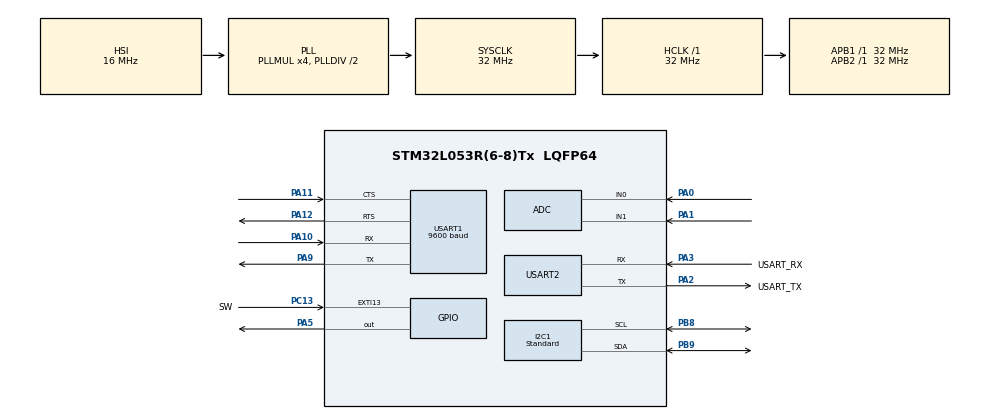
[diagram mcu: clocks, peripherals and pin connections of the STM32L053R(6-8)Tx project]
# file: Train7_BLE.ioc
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ADC.ClockPrescaler=ADC_CLOCK_SYNC_PCLK_DIV4
ADC.ContinuousConvMode=ENABLE
ADC.DMAContinuousRequests=ENABLE
ADC.Overrun=ADC_OVR_DATA_OVERWRITTEN
ADC.SamplingTime=ADC_SAMPLETIME_160CYCLES_5
Dma.ADC.0.Direction=DMA_PERIPH_TO_MEMORY
Dma.ADC.0.Instance=DMA1_Channel1
Dma.ADC.0.MemDataAlignment=DMA_MDATAALIGN_HALFWORD
Dma.ADC.0.MemInc=DMA_MINC_ENABLE
Dma.ADC.0.Mode=DMA_CIRCULAR
Dma.ADC.0.PeriphDataAlignment=DMA_PDATAALIGN_HALFWORD
Dma.ADC.0.PeriphInc=DMA_PINC_DISABLE
Dma.ADC.0.Priority=DMA_PRIORITY_LOW
Dma.Request0=ADC
I2C1.Analog_Filter=I2C_ANALOGFILTER_DISABLE
I2C1.I2C_Fall_Time=300
I2C1.I2C_Rise_Time=300
I2C1.I2C_Speed_Mode=I2C_Standard
I2C1.Timing=0x20522938
Mcu.Family=STM32L0
Mcu.Name=STM32L053R(6-8)Tx
Mcu.Package=LQFP64
NVIC.DMA1_Channel1_IRQn=true\:1\:0\:true\:false\:true\:false\:true
NVIC.EXTI4_15_IRQn=true\:0\:0\:false\:false\:true\:true\:true
NVIC.TIM21_IRQn=true\:0\:0\:false\:false\:true\:true\:true
NVIC.USART1_IRQn=true\:1\:0\:true\:false\:true\:true\:true
NVIC.USART2_IRQn=true\:1\:0\:true\:false\:true\:true\:true
PA0.Mode=IN0
PA0.Signal=ADC_IN0
PA1.Mode=IN1
PA1.Signal=ADC_IN1
PA10.Mode=Asynchronous
PA10.Signal=USART1_RX
PA11.Mode=CTS_RTS
PA11.Signal=USART1_CTS
PA12.Mode=CTS_RTS
PA12.Signal=USART1_RTS
PA13.GPIO_Label=TMS
PA13.Mode=Serial_Wire
PA13.Signal=SYS_SWDIO
PA14.GPIO_Label=TCK
PA14.Mode=Serial_Wire
PA14.Signal=SYS_SWCLK
PA2.GPIO_Label=USART_TX
PA2.Mode=Asynchronous
PA2.Signal=USART2_TX
PA3.GPIO_Label=USART_RX
PA3.Mode=Asynchronous
PA3.Signal=USART2_RX
PA5.Signal=GPIO_Output
PA9.Mode=Asynchronous
PA9.Signal=USART1_TX
PB8.GPIO_FM8=__NULL
PB8.Mode=I2C
PB8.Signal=I2C1_SCL
PB9.GPIO_FM9=__NULL
PB9.Mode=I2C
PB9.Signal=I2C1_SDA
PC13.GPIO_Label=SW
PC13.GPIO_ModeDefaultEXTI=GPIO_MODE_IT_FALLING
PC13.Signal=GPXTI13
PC14-OSC32_IN.Mode=LSE-External-Oscillator
PC14-OSC32_IN.Signal=RCC_OSC32_IN
PC15-OSC32_OUT.Mode=LSE-External-Oscillator
PC15-OSC32_OUT.Signal=RCC_OSC32_OUT
PH0-OSC_IN.Mode=HSE-External-Clock-Source
PH0-OSC_IN.Signal=RCC_OSC_IN
PH1-OSC_OUT.Signal=RCC_OSC_OUT
ProjectManager.HeapSize=0x200
ProjectManager.StackSize=0x400
ProjectManager.TargetToolchain=STM32CubeIDE
RCC.ADCFreq_Value=16000000
RCC.AHBFreq_Value=32000000
RCC.APB1Freq_Value=32000000
RCC.APB1TimFreq_Value=32000000
RCC.APB2Freq_Value=32000000
RCC.APB2TimFreq_Value=32000000
RCC.HCLKFreq_Value=32000000
RCC.HSE_VALUE=8000000
RCC.HSI16_VALUE=16000000
RCC.HSI48_VALUE=48000000
RCC.HSI_VALUE=16000000
RCC.MSIClockRange=RCC_MSIRANGE_6
RCC.MSI_VALUE=4194000
RCC.PLLMUL=RCC_PLLMUL_4
RCC.SYSCLKFreq_VALUE=32000000
RCC.SYSCLKSource=RCC_SYSCLKSOURCE_PLLCLK
RCC.VCOOutputFreq_Value=64000000
TIM21.AutoReloadPreload=TIM_AUTORELOAD_PRELOAD_ENABLE
TIM21.Period=500-1
TIM21.Prescaler=32000-1
USART1.BaudRate=9600
USART1.VirtualMode-Asynchronous=VM_ASYNC
USART2.Parity=PARITY_NONE
USART2.VirtualMode-Asynchronous=VM_ASYNC
VP_ADC_TempSens_Input.Mode=IN-TempSens
VP_ADC_Vref_Input.Mode=IN-Vrefint
VP_TIM21_VS_ClockSourceINT.Mode=Internal
board=NUCLEO-L053R8

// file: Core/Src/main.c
/* USER CODE BEGIN Header */
/*
 * Train5 All
 * 目的：全てのセンサを利用し、I2C,ADC,DMAの使い方を理解する
 * 確認方法：
 * 		温度センサ：I2CとADCを使用して、値を取得し温度の値として出力する。、ADCで取得した値は計算する。
 * 		LCD：温度センサと同じI2Cのバスに接続する。温度センサの値を表示する。
 * 		距離センサ：ADCを用いて値を取得し、計算して距離として出力する
 * 		　※ADCで取得した値はDMAを使用して取得する
 * 流れ：起動すると、LCDが起動する。
 * 				スイッチを押すと0.5秒タイマとADCが起動し、温度センサから取得した温度をLCDに表示する。
 * 				もう一度スイッチを押すと、画面が切り替わり、距離センサから取得した距離をcm単位でLCDに表示する。
 * 				もう一度スイッチを押すと、タイマーとADCがストップする。
 */
/*
 *
 ******************************************************************************
 * @file : main.c
 * @brief : Main program body
 ******************************************************************************
 * @attention
 *
 * <h2><center>&copy; Copyright (c) 2020 STMicroelectronics.
 * All rights reserved.</center></h2>
 *
 * This software component is licensed by ST under BSD 3-Clause license,
 * the "License"; You may not use this file except in compliance with the
 * License. You may obtain a copy of the License at:
 * opensource.org/licenses/BSD-3-Clause
 *
 ******************************************************************************
 */
/* USER CODE END Header */
#include "main.h"

/* USER CODE BEGIN Includes */
#include <stdbool.h>
#include <string.h>

#include "LCD.h"
#include "Input.h"
#include "LINBLE.h"
#include "State.h"
#include "UART.h"

/* USER CODE END Includes */

ADC_HandleTypeDef hadc;
DMA_HandleTypeDef hdma_adc;

I2C_HandleTypeDef hi2c1;

TIM_HandleTypeDef htim21;

UART_HandleTypeDef huart1;
UART_HandleTypeDef huart2;

/* USER CODE BEGIN PV */

/* ------------------------------------------- */

/* USER CODE END PV */

void SystemClock_Config(void);
static void MX_GPIO_Init(void);
static void MX_DMA_Init(void);
static void MX_USART2_UART_Init(void);
static void MX_TIM21_Init(void);
static void MX_I2C1_Init(void);
static void MX_ADC_Init(void);
static void MX_USART1_UART_Init(void);

int main(void)
{

  /* MCU Configuration--------------------------------------------------------*/

  /* Reset of all peripherals, Initializes the Flash interface and the Systick. */
  HAL_Init();

  /* Configure the system clock */
  SystemClock_Config();

  /* Initialize all configured peripherals */
  MX_GPIO_Init();
  MX_DMA_Init();
  MX_USART2_UART_Init();
  MX_TIM21_Init();
  MX_I2C1_Init();
  MX_ADC_Init();
  MX_USART1_UART_Init();
  /* USER CODE BEGIN 2 */

    UART_Console_Init(&huart2);  // UART  init

    LINBLE_Init(&huart1);  // LINBLEの初期化

    LCD_Init(&hi2c1);  // LCDの初期化

    State_Init(SYS_STATE_BLE_CENTRAL);  // システム状態の初期化

    HAL_TIM_Base_Start_IT(&htim21);  // タイマ スタート0.5秒タイマ

#ifdef MYDEBUG  // デバッグ用 "Start My Program" 表示
    PrintUART((uint8_t *)"Start My Program\r\n\r\n");
#endif

  /* USER CODE END 2 */

  /* Infinite loop */
  /* USER CODE BEGIN WHILE */
    // -------------------------- メインループ ---------------------------------------------------------
    while (1) {
    /* USER CODE END WHILE */

    /* USER CODE BEGIN 3 */

        /* ----------------- スイッチでLCDの表示画面を切り替える処理 -----------------  */
        Input_UpdateState();
        // スイッチを押した時だけ
        if (Input_IsSWrise() == true) {
            State_ChangeStateRoll();
        }

        /* ---------------------------------------------------------  */

        // 状態に応じた処理の実行
        State_RunProcess();

        // リアルタイムで実行される処理
        State_RunRealtimeProcess();

        // LCD更新
        LCD_BufferToLCD();
        /* ---------------------------------------------------------  */
    }

  /* USER CODE END 3 */
}

void SystemClock_Config(void)
{
  RCC_OscInitTypeDef RCC_OscInitStruct = {0};
  RCC_ClkInitTypeDef RCC_ClkInitStruct = {0};
  RCC_PeriphCLKInitTypeDef PeriphClkInit = {0};

  /** Configure the main internal regulator output voltage
  */
  __HAL_PWR_VOLTAGESCALING_CONFIG(PWR_REGULATOR_VOLTAGE_SCALE1);
  /** Initializes the RCC Oscillators according to the specified parameters
  * in the RCC_OscInitTypeDef structure.
  */
  RCC_OscInitStruct.OscillatorType = RCC_OSCILLATORTYPE_HSI;
  RCC_OscInitStruct.HSIState = RCC_HSI_ON;
  RCC_OscInitStruct.HSICalibrationValue = RCC_HSICALIBRATION_DEFAULT;
  RCC_OscInitStruct.PLL.PLLState = RCC_PLL_ON;
  RCC_OscInitStruct.PLL.PLLSource = RCC_PLLSOURCE_HSI;
  RCC_OscInitStruct.PLL.PLLMUL = RCC_PLLMUL_4;
  RCC_OscInitStruct.PLL.PLLDIV = RCC_PLLDIV_2;
  if (HAL_RCC_OscConfig(&RCC_OscInitStruct) != HAL_OK)
  {
    Error_Handler();
  }
  /** Initializes the CPU, AHB and APB buses clocks
  */
  RCC_ClkInitStruct.ClockType = RCC_CLOCKTYPE_HCLK|RCC_CLOCKTYPE_SYSCLK
                              |RCC_CLOCKTYPE_PCLK1|RCC_CLOCKTYPE_PCLK2;
  RCC_ClkInitStruct.SYSCLKSource = RCC_SYSCLKSOURCE_PLLCLK;
  RCC_ClkInitStruct.AHBCLKDivider = RCC_SYSCLK_DIV1;
  RCC_ClkInitStruct.APB1CLKDivider = RCC_HCLK_DIV1;
  RCC_ClkInitStruct.APB2CLKDivider = RCC_HCLK_DIV1;

  if (HAL_RCC_ClockConfig(&RCC_ClkInitStruct, FLASH_LATENCY_1) != HAL_OK)
  {
    Error_Handler();
  }
  PeriphClkInit.PeriphClockSelection = RCC_PERIPHCLK_USART1|RCC_PERIPHCLK_USART2
                              |RCC_PERIPHCLK_I2C1;
  PeriphClkInit.Usart1ClockSelection = RCC_USART1CLKSOURCE_PCLK2;
  PeriphClkInit.Usart2ClockSelection = RCC_USART2CLKSOURCE_PCLK1;
  PeriphClkInit.I2c1ClockSelection = RCC_I2C1CLKSOURCE_PCLK1;
  if (HAL_RCCEx_PeriphCLKConfig(&PeriphClkInit) != HAL_OK)
  {
    Error_Handler();
  }
}

static void MX_ADC_Init(void)
{

  ADC_ChannelConfTypeDef sConfig = {0};

  /** Configure the global features of the ADC (Clock, Resolution, Data Alignment and number of conversion)
  */
  hadc.Instance = ADC1;
  hadc.Init.OversamplingMode = DISABLE;
  hadc.Init.ClockPrescaler = ADC_CLOCK_SYNC_PCLK_DIV4;
  hadc.Init.Resolution = ADC_RESOLUTION_12B;
  hadc.Init.SamplingTime = ADC_SAMPLETIME_160CYCLES_5;
  hadc.Init.ScanConvMode = ADC_SCAN_DIRECTION_FORWARD;
  hadc.Init.DataAlign = ADC_DATAALIGN_RIGHT;
  hadc.Init.ContinuousConvMode = ENABLE;
  hadc.Init.DiscontinuousConvMode = DISABLE;
  hadc.Init.ExternalTrigConvEdge = ADC_EXTERNALTRIGCONVEDGE_NONE;
  hadc.Init.ExternalTrigConv = ADC_SOFTWARE_START;
  hadc.Init.DMAContinuousRequests = ENABLE;
  hadc.Init.EOCSelection = ADC_EOC_SINGLE_CONV;
  hadc.Init.Overrun = ADC_OVR_DATA_OVERWRITTEN;
  hadc.Init.LowPowerAutoWait = DISABLE;
  hadc.Init.LowPowerFrequencyMode = DISABLE;
  hadc.Init.LowPowerAutoPowerOff = DISABLE;
  if (HAL_ADC_Init(&hadc) != HAL_OK)
  {
    Error_Handler();
  }
  /** Configure for the selected ADC regular channel to be converted.
  */
  sConfig.Channel = ADC_CHANNEL_0;
  sConfig.Rank = ADC_RANK_CHANNEL_NUMBER;
  if (HAL_ADC_ConfigChannel(&hadc, &sConfig) != HAL_OK)
  {
    Error_Handler();
  }
  /** Configure for the selected ADC regular channel to be converted.
  */
  sConfig.Channel = ADC_CHANNEL_1;
  if (HAL_ADC_ConfigChannel(&hadc, &sConfig) != HAL_OK)
  {
    Error_Handler();
  }
  /** Configure for the selected ADC regular channel to be converted.
  */
  sConfig.Channel = ADC_CHANNEL_TEMPSENSOR;
  if (HAL_ADC_ConfigChannel(&hadc, &sConfig) != HAL_OK)
  {
    Error_Handler();
  }
  /** Configure for the selected ADC regular channel to be converted.
  */
  sConfig.Channel = ADC_CHANNEL_VREFINT;
  if (HAL_ADC_ConfigChannel(&hadc, &sConfig) != HAL_OK)
  {
    Error_Handler();
  }

}

static void MX_I2C1_Init(void)
{

  hi2c1.Instance = I2C1;
  hi2c1.Init.Timing = 0x20522938;
  hi2c1.Init.OwnAddress1 = 0;
  hi2c1.Init.AddressingMode = I2C_ADDRESSINGMODE_7BIT;
  hi2c1.Init.DualAddressMode = I2C_DUALADDRESS_DISABLE;
  hi2c1.Init.OwnAddress2 = 0;
  hi2c1.Init.OwnAddress2Masks = I2C_OA2_NOMASK;
  hi2c1.Init.GeneralCallMode = I2C_GENERALCALL_DISABLE;
  hi2c1.Init.NoStretchMode = I2C_NOSTRETCH_DISABLE;
  if (HAL_I2C_Init(&hi2c1) != HAL_OK)
  {
    Error_Handler();
  }
  /** Configure Analogue filter
  */
  if (HAL_I2CEx_ConfigAnalogFilter(&hi2c1, I2C_ANALOGFILTER_DISABLE) != HAL_OK)
  {
    Error_Handler();
  }
  /** Configure Digital filter
  */
  if (HAL_I2CEx_ConfigDigitalFilter(&hi2c1, 0) != HAL_OK)
  {
    Error_Handler();
  }

}

static void MX_TIM21_Init(void)
{

  TIM_ClockConfigTypeDef sClockSourceConfig = {0};
  TIM_MasterConfigTypeDef sMasterConfig = {0};

  htim21.Instance = TIM21;
  htim21.Init.Prescaler = 32000-1;
  htim21.Init.CounterMode = TIM_COUNTERMODE_UP;
  htim21.Init.Period = 500-1;
  htim21.Init.ClockDivision = TIM_CLOCKDIVISION_DIV1;
  htim21.Init.AutoReloadPreload = TIM_AUTORELOAD_PRELOAD_ENABLE;
  if (HAL_TIM_Base_Init(&htim21) != HAL_OK)
  {
    Error_Handler();
  }
  sClockSourceConfig.ClockSource = TIM_CLOCKSOURCE_INTERNAL;
  if (HAL_TIM_ConfigClockSource(&htim21, &sClockSourceConfig) != HAL_OK)
  {
    Error_Handler();
  }
  sMasterConfig.MasterOutputTrigger = TIM_TRGO_RESET;
  sMasterConfig.MasterSlaveMode = TIM_MASTERSLAVEMODE_DISABLE;
  if (HAL_TIMEx_MasterConfigSynchronization(&htim21, &sMasterConfig) != HAL_OK)
  {
    Error_Handler();
  }

}

static void MX_USART1_UART_Init(void)
{

  huart1.Instance = USART1;
  huart1.Init.BaudRate = 9600;
  huart1.Init.WordLength = UART_WORDLENGTH_8B;
  huart1.Init.StopBits = UART_STOPBITS_1;
  huart1.Init.Parity = UART_PARITY_NONE;
  huart1.Init.Mode = UART_MODE_TX_RX;
  huart1.Init.HwFlowCtl = UART_HWCONTROL_RTS_CTS;
  huart1.Init.OverSampling = UART_OVERSAMPLING_16;
  huart1.Init.OneBitSampling = UART_ONE_BIT_SAMPLE_DISABLE;
  huart1.AdvancedInit.AdvFeatureInit = UART_ADVFEATURE_NO_INIT;
  if (HAL_UART_Init(&huart1) != HAL_OK)
  {
    Error_Handler();
  }

}

static void MX_USART2_UART_Init(void)
{

  huart2.Instance = USART2;
  huart2.Init.BaudRate = 115200;
  huart2.Init.WordLength = UART_WORDLENGTH_8B;
  huart2.Init.StopBits = UART_STOPBITS_1;
  huart2.Init.Parity = UART_PARITY_NONE;
  huart2.Init.Mode = UART_MODE_TX_RX;
  huart2.Init.HwFlowCtl = UART_HWCONTROL_NONE;
  huart2.Init.OverSampling = UART_OVERSAMPLING_16;
  huart2.Init.OneBitSampling = UART_ONE_BIT_SAMPLE_DISABLE;
  huart2.AdvancedInit.AdvFeatureInit = UART_ADVFEATURE_NO_INIT;
  if (HAL_UART_Init(&huart2) != HAL_OK)
  {
    Error_Handler();
  }

}

static void MX_DMA_Init(void)
{

  /* DMA controller clock enable */
  __HAL_RCC_DMA1_CLK_ENABLE();

  /* DMA interrupt init */
  /* DMA1_Channel1_IRQn interrupt configuration */
  HAL_NVIC_SetPriority(DMA1_Channel1_IRQn, 1, 0);
  HAL_NVIC_EnableIRQ(DMA1_Channel1_IRQn);

}

static void MX_GPIO_Init(void)
{
  GPIO_InitTypeDef GPIO_InitStruct = {0};

  /* GPIO Ports Clock Enable */
  __HAL_RCC_GPIOC_CLK_ENABLE();
  __HAL_RCC_GPIOH_CLK_ENABLE();
  __HAL_RCC_GPIOA_CLK_ENABLE();
  __HAL_RCC_GPIOB_CLK_ENABLE();

  /*Configure GPIO pin Output Level */
  HAL_GPIO_WritePin(GPIOA, GPIO_PIN_5, GPIO_PIN_RESET);

  /*Configure GPIO pin : SW_Pin */
  GPIO_InitStruct.Pin = SW_Pin;
  GPIO_InitStruct.Mode = GPIO_MODE_IT_FALLING;
  GPIO_InitStruct.Pull = GPIO_NOPULL;
  HAL_GPIO_Init(SW_GPIO_Port, &GPIO_InitStruct);

  /*Configure GPIO pin : PA5 */
  GPIO_InitStruct.Pin = GPIO_PIN_5;
  GPIO_InitStruct.Mode = GPIO_MODE_OUTPUT_PP;
  GPIO_InitStruct.Pull = GPIO_NOPULL;
  GPIO_InitStruct.Speed = GPIO_SPEED_FREQ_LOW;
  HAL_GPIO_Init(GPIOA, &GPIO_InitStruct);

  /* EXTI interrupt init*/
  HAL_NVIC_SetPriority(EXTI4_15_IRQn, 0, 0);
  HAL_NVIC_EnableIRQ(EXTI4_15_IRQn);

}

/* USER CODE BEGIN 4 */

void HAL_UART_RxCpltCallback(UART_HandleTypeDef *huart) {
#ifdef MYDEBUG_UART1_RECEIVE2
    uint8_t l_strBuf[64];
#endif

    if (huart == &huart1) {
        // LINBLEからの受信に関しての問題
        // 受信される文字列の終端がある場合とない場合で、PrintUARTのエラーがでる場合がある
// #define MYDEBUG_UART1_RECEIVE1
#ifdef MYDEBUG_UART1_RECEIVE1
        PrintUART("huart1 Rx done. data : ");
        PrintChar(LINBLE_GetReceiveCharLast());
        PrintUART("\r\n");
#endif

        LINBLE_SetReceiveData();  // リンブルからの受信

        LINBLE_ReloadReceiveInterrupt();  // 割込みの再設定

#ifdef MYDEBUG_UART1_RECEIVE2

        switch (State_GetState()) {
            // 次のシステムの状態の時に
            // ターミナルに入力した文字列を表示させる
            case SYS_STATE_BLE:
            case SYS_STATE_BLE_CENTRAL:

                // コマンドを受信した場合、ターミナルにコマンドを表示させる
                if (LINBLE_GetReceiveCharLast() == '\n') {
                    LINBLE_GetReceiveData(&l_strBuf, 64);
                    PrintUART("uart1 Rx interrupt : ");
                    PrintUART(l_strBuf);
                }

                break;
            default:
                break;
        }
#endif

    } else if (huart == &huart2) {
        // 受信したデータを格納
        UART_SetReceiveData();

        // 割込みの再設定
        UART_ReloadReceiveInterrupt();

        // 一文字ずつターミナルへ表示
        // switch (State_GetState()) {
        // case SYS_STATE_DEBUG_RECIEVE:
        // case SYS_STATE_BLE:
        // case SYS_STATE_BLE_CENTRAL:

        //                PrintChar(UART_GetReceiveCharLast());

        // // CRの場合、改行させる
        // if (UART_GetReceiveCharLast() == '\r') {
        //     PrintUART("\n");
        // }

        // break;
        // default:
        // break;
        //    }
    }
}

void HAL_UART_TxCpltCallback(UART_HandleTypeDef *huart) {
    if (huart == &huart1) {
        // PrintUART("huart1 Tx test\r\n");
    } else if (huart == &huart2) {
        // PrintUART("huart2 Tx test\r\n");
    }
}

// 外部割込み コールバック
void HAL_GPIO_EXTI_Callback(uint16_t GPIO_Pin) {
    // SWの割込み処理
    if (GPIO_Pin == SW_Pin) {
        Input_SetPushedSWFlg();
    }
}

// 0.5秒タイマオーバーフロー 割込み コールバック
void HAL_TIM_PeriodElapsedCallback(TIM_HandleTypeDef *htim) {
    // タイマ21の割込み処理
    if (htim == &htim21) {
        State_SetUpdateFlg();
    }
}

/* USER CODE END 4 */

void Error_Handler(void)
{
}

/************************ (C) COPYRIGHT STMicroelectronics *****END OF FILE****/
